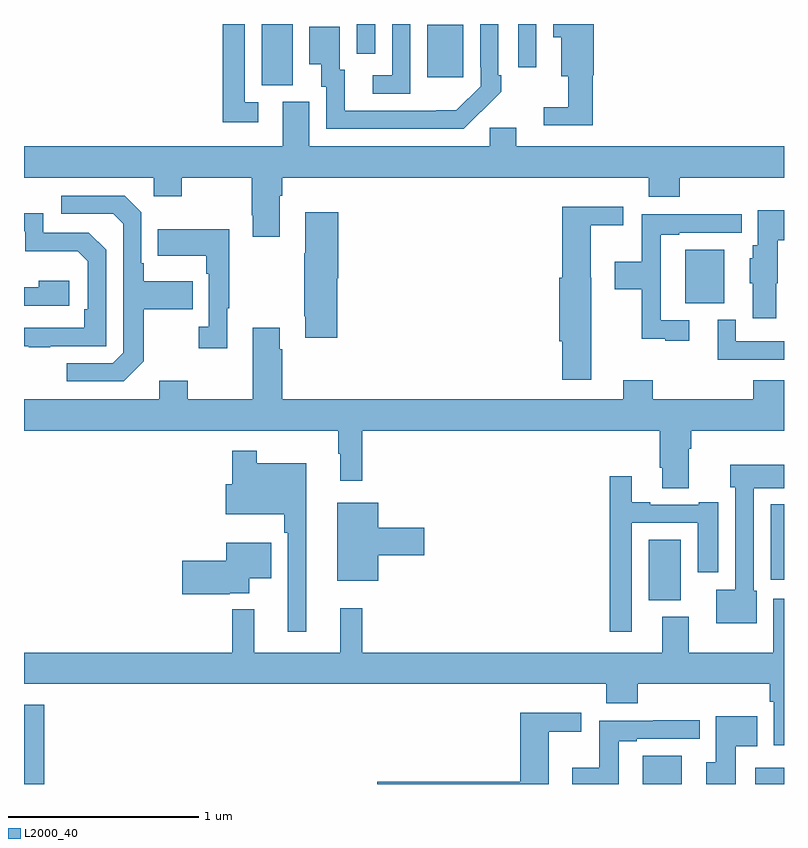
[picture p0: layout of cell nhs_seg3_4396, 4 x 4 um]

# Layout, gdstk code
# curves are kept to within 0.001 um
import gdstk
lib = gdstk.Library(unit=1e-6, precision=1e-09)
def R(c, l, rs):  # rectangles x0, y0, x1, y1
    for r in rs: c.add(gdstk.rectangle(r[:2], r[2:], *l))
def P(c, l, *ps):  # polygons
    for p in ps: c.add(gdstk.Polygon(p, *l))
L2000_40 = (2000, 40)

nhs_seg3_4396 = lib.new_cell('nhs_seg3_4396')
R(nhs_seg3_4396, L2000_40, [(345,688.4,345.107,688.818), (348.257,688.4,348.463,688.549), (348.848,688.4,349,688.486), (348.287,689.366,348.457,689.686), (348.929,689.475,349,689.872), (348.479,690.929,348.685,691.213), (346.25,692.077,346.414,692.4), (347.123,692.121,347.311,692.395), (347.601,692.172,347.697,692.4), (346.752,692.244,346.848,692.4)])
P(nhs_seg3_4396, L2000_40, [(347.405,691.939),(347.406,691.938),(347.511,692.043),(347.511,692.131),(347.496,692.131),(347.496,692.4),(347.4,692.4),(347.4,692.173),(347.403,692.173),(347.403,692.073),(347.275,691.945),(346.687,691.944),(346.687,692.16),(346.663,692.16),(346.663,692.386),(346.502,692.386),(346.502,692.189),(346.565,692.189),(346.565,692.07),(346.59,692.07),(346.59,691.848),(347.314,691.848)],
  [(346.234,691.989),(346.161,691.989),(346.161,692.4),(346.045,692.4),(346.045,691.884),(346.234,691.884)],
  [(347.034,692.4),(346.938,692.4),(346.938,692.13),(346.836,692.13),(346.836,692.034),(347.034,692.034)],
  [(347.993,692.13),(347.999,692.13),(347.999,692.4),(347.786,692.4),(347.786,692.33),(347.828,692.33),(347.828,692.126),(347.865,692.126),(347.865,691.963),(347.736,691.963),(347.736,691.866),(347.993,691.866)],
  [(346.345,691.496),(346.358,691.496),(346.358,691.592),(348.287,691.592),(348.287,691.49),(348.452,691.49),(348.452,691.592),(349,691.592),(349,691.756),(347.59,691.756),(347.59,691.854),(347.451,691.854),(347.451,691.756),(346.501,691.756),(346.501,691.992),(346.361,691.992),(346.361,691.756),(345,691.756),(345,691.592),(345.684,691.592),(345.684,691.493),(345.831,691.493),(345.831,691.592),(346.198,691.592),(346.198,691.393),(346.205,691.393),(346.205,691.281),(346.345,691.281)],
  [(345.631,690.625),(345.631,690.898),(345.887,690.898),(345.887,691.045),(345.631,691.045),(345.631,691.141),(345.618,691.141),(345.618,691.41),(345.531,691.497),(345.195,691.497),(345.195,691.401),(345.471,691.401),(345.522,691.35),(345.522,690.669),(345.468,690.615),(345.225,690.615),(345.225,690.519),(345.525,690.519)],
  [(347.986,691.065),(347.983,691.065),(347.983,691.34),(348.154,691.34),(348.154,691.438),(347.834,691.438),(347.834,691.065),(347.816,691.065),(347.816,690.729),(347.834,690.729),(347.834,690.528),(347.986,690.528)],
  [(348.958,691.035),(348.967,691.035),(348.967,691.262),(349,691.262),(349,691.42),(348.863,691.42),(348.863,691.236),(348.836,691.236),(348.836,691.167),(348.821,691.167),(348.821,691.035),(348.836,691.035),(348.836,690.852),(348.958,690.852)],
  [(346.649,691.062),(346.654,691.062),(346.654,691.408),(346.481,691.408),(346.481,691.193),(346.474,691.193),(346.474,690.862),(346.481,690.862),(346.481,690.75),(346.649,690.75)],
  [(345.137,690.705),(345.432,690.705),(345.432,691.212),(345.342,691.302),(345.102,691.302),(345.102,691.404),(345,691.404),(345,691.308),(345.006,691.308),(345.006,691.205),(345.283,691.205),(345.336,691.152),(345.336,690.898),(345.316,690.898),(345.316,690.801),(345,690.801),(345,690.705),(345.025,690.705),(345.025,690.7),(345.137,690.7)],
  [(348.502,690.84),(348.351,690.84),(348.351,691.29),(348.448,691.29),(348.448,691.302),(348.778,691.302),(348.778,691.4),(348.535,691.4),(348.535,691.398),(348.25,691.398),(348.25,691.15),(348.108,691.15),(348.108,691.003),(348.25,691.003),(348.25,690.743),(348.374,690.743),(348.374,690.732),(348.502,690.732)],
  [(346.069,690.905),(346.081,690.905),(346.081,691.321),(345.703,691.321),(345.703,691.181),(345.96,691.181),(345.96,691.085),(345.972,691.085),(345.972,690.806),(345.921,690.806),(345.921,690.693),(346.069,690.693)],
  [(345.238,691.048),(345.077,691.048),(345.077,691.014),(345,691.014),(345,690.918),(345.238,690.918)],
  [(349,690.729),(348.747,690.729),(348.747,690.844),(348.65,690.844),(348.65,690.633),(349,690.633)],
  [(348.499,690.164),(348.512,690.164),(348.512,690.26),(349,690.26),(349,690.526),(348.839,690.526),(348.839,690.424),(348.308,690.424),(348.308,690.526),(348.155,690.526),(348.155,690.424),(346.358,690.424),(346.358,690.689),(346.345,690.689),(346.345,690.802),(346.205,690.802),(346.205,690.424),(345.861,690.424),(345.861,690.523),(345.713,690.523),(345.713,690.424),(345,690.424),(345,690.26),(346.653,690.26),(346.653,690.137),(346.664,690.137),(346.664,689.997),(346.781,689.997),(346.781,690.26),(348.347,690.26),(348.347,690.064),(348.359,690.064),(348.359,689.956),(348.499,689.956)],
  [(346.486,690.088),(346.225,690.088),(346.225,690.154),(346.096,690.154),(346.096,689.977),(346.062,689.977),(346.062,689.819),(346.369,689.819),(346.369,689.723),(346.389,689.723),(346.389,689.202),(346.486,689.202)],
  [(348.856,689.418),(348.84,689.418),(348.84,689.957),(349,689.957),(349,690.079),(348.716,690.079),(348.716,689.961),(348.744,689.961),(348.744,689.422),(348.644,689.422),(348.644,689.246),(348.856,689.246)],
  [(348.198,689.775),(348.545,689.775),(348.545,689.514),(348.655,689.514),(348.655,689.884),(348.551,689.884),(348.551,689.871),(348.295,689.871),(348.295,689.884),(348.199,689.884),(348.199,690.019),(348.082,690.019),(348.082,689.202),(348.198,689.202)],
  [(346.864,689.603),(347.107,689.603),(347.107,689.75),(346.864,689.75),(346.864,689.881),(346.649,689.881),(346.649,689.471),(346.864,689.471)],
  [(346.082,689.405),(346.186,689.405),(346.186,689.483),(346.3,689.483),(346.3,689.671),(346.064,689.671),(346.064,689.576),(345.834,689.576),(345.834,689.4),(346.082,689.4)],
  [(349,689.374),(348.944,689.374),(348.944,689.092),(348.499,689.092),(348.499,689.281),(348.359,689.281),(348.359,689.092),(346.781,689.092),(346.781,689.326),(346.664,689.326),(346.664,689.092),(346.211,689.092),(346.211,689.32),(346.097,689.32),(346.097,689.092),(345,689.092),(345,688.928),(348.065,688.928),(348.065,688.826),(348.23,688.826),(348.23,688.928),(348.925,688.928),(348.925,688.832),(348.945,688.832),(348.945,688.605),(349,688.605)],
  [(347.761,688.676),(347.932,688.676),(347.932,688.774),(347.612,688.774),(347.612,688.412),(346.859,688.412),(346.859,688.4),(347.761,688.4)],
  [(348.745,688.598),(348.86,688.598),(348.86,688.756),(348.641,688.756),(348.641,688.515),(348.591,688.515),(348.591,688.4),(348.745,688.4)],
  [(348.129,688.626),(348.226,688.626),(348.226,688.638),(348.556,688.638),(348.556,688.736),(348.313,688.736),(348.313,688.734),(348.028,688.734),(348.028,688.486),(347.886,688.486),(347.886,688.4),(348.129,688.4)])

lib.write_gds('nhs_seg3_4396.gds')
